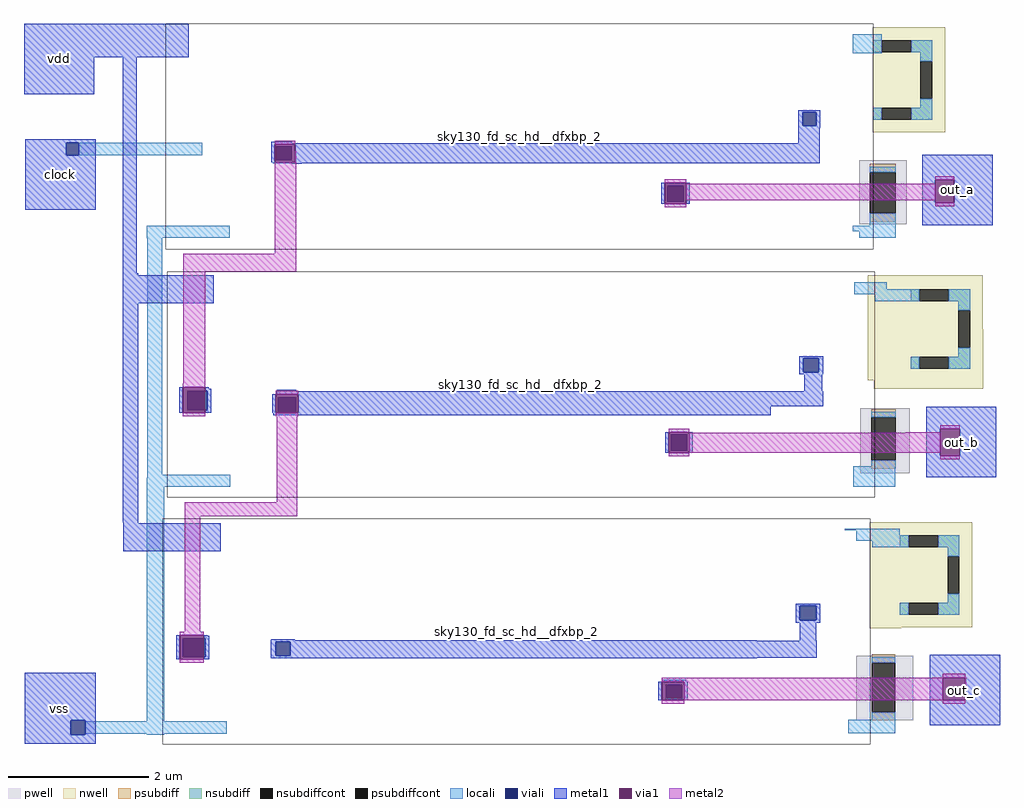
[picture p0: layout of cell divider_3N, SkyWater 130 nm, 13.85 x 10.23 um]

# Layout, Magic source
magic
tech sky130A
magscale 1 2
<< nwell >>
rect 3997 101 4202 399
rect 3982 -458 4309 -304
rect 3982 -602 4310 -458
rect 4000 -626 4310 -602
rect 3988 -1304 4279 -1006
rect 3988 -1306 4078 -1304
<< pwell >>
rect 3958 -160 4094 22
rect 3962 -866 4102 -682
rect 3950 -1568 4112 -1384
<< psubdiff >>
rect 3988 -12 4062 12
rect 3988 -152 4062 -128
rect 3992 -708 4062 -684
rect 3992 -854 4062 -830
rect 3994 -1404 4060 -1380
rect 3994 -1568 4060 -1544
<< nsubdiff >>
rect 3997 329 4022 363
rect 4106 329 4166 363
rect 4132 303 4166 329
rect 4132 171 4166 197
rect 3997 137 4022 171
rect 4106 137 4166 171
rect 4104 -378 4129 -344
rect 4213 -378 4273 -344
rect 4239 -404 4273 -378
rect 4239 -536 4273 -510
rect 4104 -570 4129 -536
rect 4213 -570 4273 -536
rect 4074 -1076 4099 -1042
rect 4183 -1076 4243 -1042
rect 4209 -1102 4243 -1076
rect 4209 -1234 4243 -1208
rect 4074 -1268 4099 -1234
rect 4183 -1268 4243 -1234
<< psubdiffcont >>
rect 3988 -128 4062 -12
rect 3992 -830 4062 -708
rect 3994 -1544 4060 -1404
<< nsubdiffcont >>
rect 4022 329 4106 363
rect 4132 197 4166 303
rect 4022 137 4106 171
rect 4129 -378 4213 -344
rect 4239 -510 4273 -404
rect 4129 -570 4213 -536
rect 4099 -1076 4183 -1042
rect 4209 -1208 4243 -1102
rect 4099 -1268 4183 -1234
<< locali >>
rect 3940 326 4022 380
rect 4106 329 4166 363
rect 4132 303 4166 329
rect 4132 171 4166 197
rect 3997 137 4022 171
rect 4106 137 4166 171
rect 1744 36 2094 72
rect 3988 -12 4062 4
rect 3988 -164 4062 -128
rect 1936 -198 2172 -164
rect 3940 -180 4062 -164
rect 3958 -198 4062 -180
rect 1938 -870 1980 -198
rect 3944 -344 4036 -324
rect 3944 -358 4129 -344
rect 4002 -378 4129 -358
rect 4213 -378 4273 -344
rect 4239 -404 4273 -378
rect 4239 -536 4273 -510
rect 4104 -570 4129 -536
rect 4213 -570 4273 -536
rect 3992 -708 4062 -692
rect 3992 -846 4062 -830
rect 1938 -880 2174 -870
rect 1936 -904 2174 -880
rect 3942 -904 4060 -846
rect 1936 -1570 1986 -904
rect 3918 -1028 4074 -1024
rect 3950 -1042 4074 -1028
rect 3950 -1058 4099 -1042
rect 3996 -1076 4099 -1058
rect 4183 -1076 4243 -1042
rect 4209 -1102 4243 -1076
rect 4209 -1234 4243 -1208
rect 4074 -1268 4099 -1234
rect 4183 -1268 4243 -1234
rect 3994 -1404 4060 -1388
rect 3410 -1512 3456 -1504
rect 3994 -1566 4060 -1544
rect 1762 -1606 2164 -1570
rect 3928 -1604 4060 -1566
rect 1936 -1608 1986 -1606
<< viali >>
rect 3798 120 3836 158
rect 1708 36 1744 72
rect 2304 22 2348 62
rect 3414 -96 3460 -50
rect 3800 -580 3844 -540
rect 2052 -688 2108 -632
rect 2308 -696 2360 -650
rect 3424 -802 3470 -756
rect 1720 -1608 1762 -1568
rect 3790 -1284 3836 -1242
rect 2038 -1388 2102 -1334
rect 2302 -1384 2344 -1344
rect 3410 -1504 3456 -1466
<< metal1 >>
rect 1588 314 2056 410
rect 1588 210 1788 314
rect 1592 72 1792 82
rect 1592 36 1708 72
rect 1744 36 1792 72
rect 1592 -118 1792 36
rect 1868 -298 1908 314
rect 3786 158 3848 164
rect 3786 120 3798 158
rect 3836 120 3848 158
rect 3786 114 3848 120
rect 2290 70 2348 74
rect 3786 70 3846 114
rect 2290 68 3846 70
rect 2290 16 2300 68
rect 2358 16 3846 68
rect 2294 14 3846 16
rect 2348 12 2376 14
rect 4138 -34 4338 38
rect 3396 -102 3406 -42
rect 3468 -102 3478 -42
rect 4138 -98 4174 -34
rect 4228 -98 4338 -34
rect 4138 -162 4338 -98
rect 1868 -304 1912 -298
rect 1868 -384 2126 -304
rect 1868 -1006 1912 -384
rect 3788 -540 3856 -534
rect 3788 -580 3800 -540
rect 3844 -580 3856 -540
rect 3788 -586 3856 -580
rect 2028 -694 2038 -622
rect 2102 -626 2112 -622
rect 2102 -632 2120 -626
rect 2108 -688 2120 -632
rect 2306 -634 2360 -630
rect 3802 -634 3854 -586
rect 2306 -642 3856 -634
rect 2102 -694 2120 -688
rect 2292 -694 2302 -642
rect 2366 -676 3856 -642
rect 2366 -694 3708 -676
rect 2296 -696 2308 -694
rect 2360 -696 3708 -694
rect 2296 -702 3708 -696
rect 4148 -740 4348 -678
rect 3408 -808 3418 -750
rect 3476 -808 3486 -750
rect 4148 -816 4188 -740
rect 4244 -816 4348 -740
rect 4148 -878 4348 -816
rect 1870 -1008 1912 -1006
rect 1870 -1088 2146 -1008
rect 3778 -1242 3848 -1236
rect 3778 -1284 3790 -1242
rect 3836 -1284 3848 -1242
rect 3778 -1290 3848 -1284
rect 2020 -1394 2030 -1326
rect 2098 -1328 2108 -1326
rect 2098 -1334 2114 -1328
rect 2102 -1388 2114 -1334
rect 2290 -1340 2356 -1338
rect 2098 -1394 2114 -1388
rect 2288 -1342 3668 -1340
rect 3790 -1342 3836 -1290
rect 2288 -1344 3838 -1342
rect 2288 -1384 2302 -1344
rect 2344 -1384 3838 -1344
rect 2288 -1390 3838 -1384
rect 2288 -1392 3668 -1390
rect 1590 -1568 1792 -1432
rect 4158 -1446 4358 -1382
rect 3398 -1458 3468 -1452
rect 3388 -1510 3398 -1458
rect 3462 -1510 3472 -1458
rect 4158 -1510 4196 -1446
rect 4260 -1510 4358 -1446
rect 1590 -1608 1720 -1568
rect 1762 -1608 1792 -1568
rect 4158 -1582 4358 -1510
rect 1590 -1634 1792 -1608
<< via1 >>
rect 2300 62 2358 68
rect 2300 22 2304 62
rect 2304 22 2348 62
rect 2348 22 2358 62
rect 2300 16 2358 22
rect 3406 -50 3468 -42
rect 3406 -96 3414 -50
rect 3414 -96 3460 -50
rect 3460 -96 3468 -50
rect 3406 -102 3468 -96
rect 4174 -98 4228 -34
rect 2038 -632 2102 -622
rect 2038 -688 2052 -632
rect 2052 -688 2102 -632
rect 2038 -694 2102 -688
rect 2302 -650 2366 -642
rect 2302 -694 2308 -650
rect 2308 -694 2360 -650
rect 2360 -694 2366 -650
rect 3418 -756 3476 -750
rect 3418 -802 3424 -756
rect 3424 -802 3470 -756
rect 3470 -802 3476 -756
rect 3418 -808 3476 -802
rect 4188 -816 4244 -740
rect 2030 -1334 2098 -1326
rect 2030 -1388 2038 -1334
rect 2038 -1388 2098 -1334
rect 2030 -1394 2098 -1388
rect 3398 -1466 3462 -1458
rect 3398 -1504 3410 -1466
rect 3410 -1504 3456 -1466
rect 3456 -1504 3462 -1466
rect 3398 -1510 3462 -1504
rect 4196 -1510 4260 -1446
<< metal2 >>
rect 2300 68 2358 78
rect 2358 16 2360 48
rect 2300 -244 2360 16
rect 3406 -42 3468 -32
rect 4174 -34 4228 -24
rect 3468 -92 4174 -44
rect 3406 -112 3468 -102
rect 4174 -108 4228 -98
rect 2040 -294 2360 -244
rect 2040 -612 2102 -294
rect 2038 -622 2102 -612
rect 2038 -704 2102 -694
rect 2302 -642 2366 -632
rect 2302 -704 2366 -694
rect 2306 -948 2364 -704
rect 4188 -740 4244 -730
rect 3418 -750 3476 -740
rect 4090 -752 4188 -750
rect 3476 -808 4188 -752
rect 3418 -818 3476 -808
rect 4188 -826 4244 -816
rect 2044 -988 2364 -948
rect 2044 -1316 2088 -988
rect 2030 -1326 2098 -1316
rect 2030 -1404 2098 -1394
rect 4196 -1446 4260 -1436
rect 3398 -1458 4196 -1446
rect 3462 -1510 4196 -1458
rect 4260 -1510 4262 -1446
rect 3398 -1520 3462 -1510
rect 4196 -1520 4260 -1510
use sky130_fd_sc_hd__dfxbp_2  x1 $PDKPATH/libs.ref/sky130_fd_sc_hd/mag
transform 1 0 2032 0 1 -886
box -38 -48 1970 592
use sky130_fd_sc_hd__dfxbp_2  x2
transform 1 0 2020 0 1 -1588
box -38 -48 1970 592
use sky130_fd_sc_hd__dfxbp_2  x3
transform 1 0 2028 0 1 -182
box -38 -48 1970 592
<< labels >>
flabel metal1 4138 -162 4338 38 0 FreeSans 256 0 0 0 out_a
port 1 nsew
flabel metal1 4148 -878 4348 -678 0 FreeSans 256 0 0 0 out_b
port 2 nsew
flabel metal1 4158 -1582 4358 -1382 0 FreeSans 256 0 0 0 out_c
port 3 nsew
flabel metal1 1590 -1634 1790 -1434 0 FreeSans 256 0 0 0 vss
port 5 nsew
flabel metal1 1588 210 1788 410 0 FreeSans 256 0 0 0 vdd
port 4 nsew
flabel metal1 1592 -118 1792 82 0 FreeSans 256 0 0 0 clock
port 0 nsew
<< end >>
